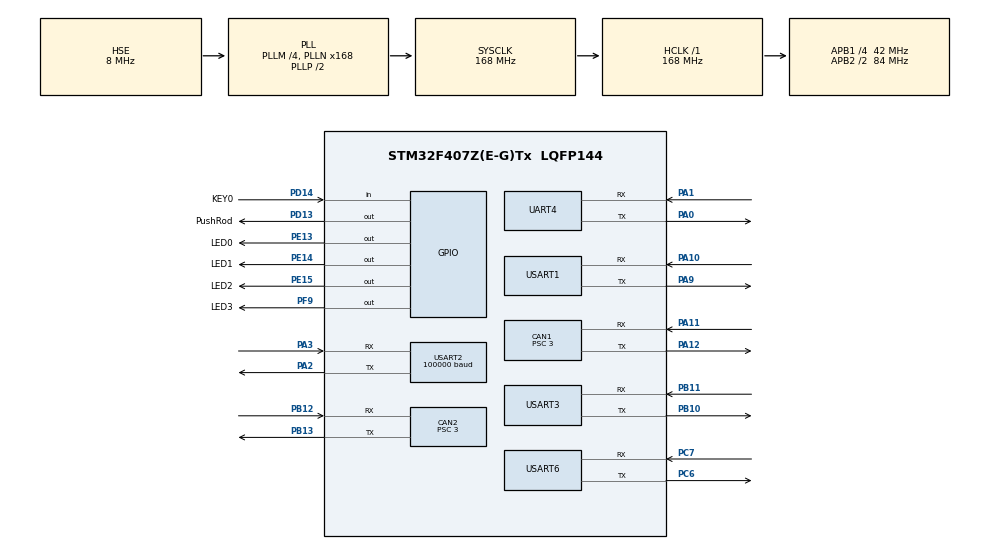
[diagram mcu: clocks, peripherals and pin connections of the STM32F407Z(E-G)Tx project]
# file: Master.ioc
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CAN1.ABOM=ENABLE
CAN1.BS1=CAN_BS1_9TQ
CAN1.BS2=CAN_BS2_4TQ
CAN1.CalculateTimeQuantum=71.42857142857143
CAN1.Prescaler=3
CAN2.ABOM=ENABLE
CAN2.BS1=CAN_BS1_9TQ
CAN2.BS2=CAN_BS2_4TQ
CAN2.CalculateTimeQuantum=71.42857142857143
CAN2.Prescaler=3
Dma.Request0=USART2_RX
Dma.Request1=USART3_RX
Dma.Request2=USART3_TX
Dma.Request3=USART6_RX
Dma.Request4=USART6_TX
Dma.USART2_RX.0.Direction=DMA_PERIPH_TO_MEMORY
Dma.USART2_RX.0.FIFOMode=DMA_FIFOMODE_DISABLE
Dma.USART2_RX.0.Instance=DMA1_Stream5
Dma.USART2_RX.0.MemDataAlignment=DMA_MDATAALIGN_BYTE
Dma.USART2_RX.0.MemInc=DMA_MINC_ENABLE
Dma.USART2_RX.0.Mode=DMA_NORMAL
Dma.USART2_RX.0.PeriphDataAlignment=DMA_PDATAALIGN_BYTE
Dma.USART2_RX.0.PeriphInc=DMA_PINC_DISABLE
Dma.USART2_RX.0.Priority=DMA_PRIORITY_LOW
Dma.USART3_RX.1.Direction=DMA_PERIPH_TO_MEMORY
Dma.USART3_RX.1.FIFOMode=DMA_FIFOMODE_DISABLE
Dma.USART3_RX.1.Instance=DMA1_Stream1
Dma.USART3_RX.1.MemDataAlignment=DMA_MDATAALIGN_BYTE
Dma.USART3_RX.1.MemInc=DMA_MINC_ENABLE
Dma.USART3_RX.1.Mode=DMA_NORMAL
Dma.USART3_RX.1.PeriphDataAlignment=DMA_PDATAALIGN_BYTE
Dma.USART3_RX.1.PeriphInc=DMA_PINC_DISABLE
Dma.USART3_RX.1.Priority=DMA_PRIORITY_LOW
Dma.USART3_TX.2.Direction=DMA_MEMORY_TO_PERIPH
Dma.USART3_TX.2.FIFOMode=DMA_FIFOMODE_DISABLE
Dma.USART3_TX.2.Instance=DMA1_Stream3
Dma.USART3_TX.2.MemDataAlignment=DMA_MDATAALIGN_BYTE
Dma.USART3_TX.2.MemInc=DMA_MINC_DISABLE
Dma.USART3_TX.2.Mode=DMA_NORMAL
Dma.USART3_TX.2.PeriphDataAlignment=DMA_PDATAALIGN_BYTE
Dma.USART3_TX.2.PeriphInc=DMA_PINC_DISABLE
Dma.USART3_TX.2.Priority=DMA_PRIORITY_LOW
Dma.USART6_RX.3.Direction=DMA_PERIPH_TO_MEMORY
Dma.USART6_RX.3.FIFOMode=DMA_FIFOMODE_DISABLE
Dma.USART6_RX.3.Instance=DMA2_Stream1
Dma.USART6_RX.3.MemDataAlignment=DMA_MDATAALIGN_BYTE
Dma.USART6_RX.3.MemInc=DMA_MINC_ENABLE
Dma.USART6_RX.3.Mode=DMA_NORMAL
Dma.USART6_RX.3.PeriphDataAlignment=DMA_PDATAALIGN_BYTE
Dma.USART6_RX.3.PeriphInc=DMA_PINC_DISABLE
Dma.USART6_RX.3.Priority=DMA_PRIORITY_LOW
Dma.USART6_TX.4.Direction=DMA_MEMORY_TO_PERIPH
Dma.USART6_TX.4.FIFOMode=DMA_FIFOMODE_DISABLE
Dma.USART6_TX.4.Instance=DMA2_Stream6
Dma.USART6_TX.4.MemDataAlignment=DMA_MDATAALIGN_BYTE
Dma.USART6_TX.4.MemInc=DMA_MINC_ENABLE
Dma.USART6_TX.4.Mode=DMA_NORMAL
Dma.USART6_TX.4.PeriphDataAlignment=DMA_PDATAALIGN_BYTE
Dma.USART6_TX.4.PeriphInc=DMA_PINC_DISABLE
Dma.USART6_TX.4.Priority=DMA_PRIORITY_LOW
Mcu.Family=STM32F4
Mcu.Name=STM32F407Z(E-G)Tx
Mcu.Package=LQFP144
NVIC.CAN1_RX0_IRQn=true\:0\:0\:false\:false\:true\:true\:true
NVIC.CAN1_TX_IRQn=true\:0\:0\:false\:false\:true\:true\:true
NVIC.CAN2_RX0_IRQn=true\:0\:0\:false\:false\:true\:true\:true
NVIC.CAN2_TX_IRQn=true\:0\:0\:false\:false\:true\:true\:true
NVIC.DMA1_Stream1_IRQn=true\:0\:0\:false\:false\:true\:false\:true
NVIC.DMA1_Stream3_IRQn=true\:0\:0\:false\:false\:true\:false\:true
NVIC.DMA1_Stream5_IRQn=true\:0\:0\:false\:false\:true\:false\:true
NVIC.DMA2_Stream1_IRQn=true\:0\:0\:false\:false\:true\:false\:true
NVIC.DMA2_Stream6_IRQn=true\:0\:0\:false\:false\:true\:false\:true
NVIC.PriorityGroup=NVIC_PRIORITYGROUP_4
NVIC.TIM3_IRQn=true\:1\:0\:true\:false\:true\:true\:true
NVIC.TIM4_IRQn=true\:5\:0\:true\:false\:true\:true\:true
NVIC.TIM7_IRQn=true\:0\:0\:true\:false\:true\:true\:true
NVIC.USART1_IRQn=true\:0\:0\:true\:false\:true\:true\:true
NVIC.USART2_IRQn=true\:0\:0\:false\:false\:true\:true\:true
NVIC.USART3_IRQn=true\:0\:0\:false\:false\:true\:true\:true
NVIC.USART6_IRQn=true\:0\:0\:false\:false\:true\:true\:true
PA0-WKUP.Mode=Asynchronous
PA0-WKUP.Signal=UART4_TX
PA1.Mode=Asynchronous
PA1.Signal=UART4_RX
PA10.Mode=Asynchronous
PA10.Signal=USART1_RX
PA11.Mode=Master
PA11.Signal=CAN1_RX
PA12.Mode=Master
PA12.Signal=CAN1_TX
PA2.Mode=Asynchronous
PA2.Signal=USART2_TX
PA3.Mode=Asynchronous
PA3.Signal=USART2_RX
PA9.Mode=Asynchronous
PA9.Signal=USART1_TX
PB10.Mode=Asynchronous
PB10.Signal=USART3_TX
PB11.Mode=Asynchronous
PB11.Signal=USART3_RX
PB12.Mode=Slave
PB12.Signal=CAN2_RX
PB13.Mode=Slave
PB13.Signal=CAN2_TX
PC6.Mode=Asynchronous
PC6.Signal=USART6_TX
PC7.Mode=Asynchronous
PC7.Signal=USART6_RX
PD13.GPIO_Label=PushRod
PD13.GPIO_PuPd=GPIO_PULLUP
PD13.GPIO_Speed=GPIO_SPEED_FREQ_HIGH
PD13.Signal=GPIO_Output
PD14.GPIO_Label=KEY0
PD14.GPIO_PuPd=GPIO_PULLUP
PD14.Signal=GPIO_Input
PE13.GPIO_Label=LED0
PE13.GPIO_PuPd=GPIO_PULLUP
PE13.GPIO_Speed=GPIO_SPEED_FREQ_HIGH
PE13.PinState=GPIO_PIN_SET
PE13.Signal=GPIO_Output
PE14.GPIO_Label=LED1
PE14.GPIO_ModeDefaultOutputPP=GPIO_MODE_OUTPUT_PP
PE14.GPIO_PuPd=GPIO_PULLUP
PE14.GPIO_Speed=GPIO_SPEED_FREQ_HIGH
PE14.PinState=GPIO_PIN_SET
PE14.Signal=GPIO_Output
PE15.GPIO_Label=LED2
PE15.GPIO_ModeDefaultOutputPP=GPIO_MODE_OUTPUT_PP
PE15.GPIO_PuPd=GPIO_PULLUP
PE15.GPIO_Speed=GPIO_SPEED_FREQ_HIGH
PE15.PinState=GPIO_PIN_SET
PE15.Signal=GPIO_Output
PF9.GPIO_Label=LED3
PF9.GPIO_PuPd=GPIO_PULLUP
PF9.GPIO_Speed=GPIO_SPEED_FREQ_HIGH
PF9.PinState=GPIO_PIN_SET
PF9.Signal=GPIO_Output
PH0-OSC_IN.Mode=HSE-External-Oscillator
PH0-OSC_IN.Signal=RCC_OSC_IN
PH1-OSC_OUT.Mode=HSE-External-Oscillator
PH1-OSC_OUT.Signal=RCC_OSC_OUT
ProjectManager.HeapSize=0x200
ProjectManager.StackSize=0x400
ProjectManager.TargetToolchain=MDK-ARM V5
RCC.48MHZClocksFreq_Value=84000000
RCC.AHBFreq_Value=168000000
RCC.APB1CLKDivider=RCC_HCLK_DIV4
RCC.APB1Freq_Value=42000000
RCC.APB1TimFreq_Value=84000000
RCC.APB2CLKDivider=RCC_HCLK_DIV2
RCC.APB2Freq_Value=84000000
RCC.APB2TimFreq_Value=168000000
RCC.CortexFreq_Value=168000000
RCC.HCLKFreq_Value=168000000
RCC.HSE_VALUE=8000000
RCC.HSI_VALUE=16000000
RCC.LSE_VALUE=32768
RCC.PLLM=4
RCC.PLLN=168
RCC.PLLSourceVirtual=RCC_PLLSOURCE_HSE
RCC.SYSCLKFreq_VALUE=168000000
RCC.SYSCLKSource=RCC_SYSCLKSOURCE_PLLCLK
RCC.VCOOutputFreq_Value=336000000
TIM3.Period=1000-1
TIM3.Prescaler=84-1
TIM4.Period=10000-1
TIM4.Prescaler=8400-1
TIM7.Period=1000-1
TIM7.Prescaler=8400-1
UART4.VirtualMode=Asynchronous
USART1.VirtualMode=VM_ASYNC
USART2.BaudRate=100000
USART2.Parity=PARITY_EVEN
USART2.VirtualMode=VM_ASYNC
USART3.VirtualMode=VM_ASYNC
USART6.VirtualMode=VM_ASYNC
VP_TIM3_VS_ClockSourceINT.Mode=Internal
VP_TIM4_VS_ClockSourceINT.Mode=Internal
VP_TIM7_VS_ClockSourceINT.Mode=Enable_Timer
board=custom

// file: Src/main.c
/* USER CODE BEGIN Header */
/**
  ******************************************************************************
  * @file           : main.c
  * @brief          : Main program body
  ******************************************************************************
  * @attention
  *
  * <h2><center>&copy; Copyright (c) 2019 STMicroelectronics.
  * All rights reserved.</center></h2>
  *
  * This software component is licensed by ST under BSD 3-Clause license,
  * the "License"; You may not use this file except in compliance with the
  * License. You may obtain a copy of the License at:
  *                        opensource.org/licenses/BSD-3-Clause
  *
  ******************************************************************************
  */
/* USER CODE END Header */

#include "main.h"
#include "can.h"
#include "dma.h"
#include "tim.h"
#include "usart.h"
#include "gpio.h"

/* USER CODE BEGIN Includes */

#include "CanBus_Task.h"
#include "RC_Task.h"
#include "ControlTask.h"
#include "Chassis_Task.h"
#include "Gimbal_Task.h"
#include "PrintfInfo.h"
#include "APPInteraction.h"
#include "stdio.h"
#include "Vision_interact.h"
#include "Judge_interact.h"
#include "Ano_Dt.h"

/* USER CODE END Includes */

void SystemClock_Config(void);

int main(void)
{

  /* MCU Configuration--------------------------------------------------------*/

  /* Reset of all peripherals, Initializes the Flash interface and the Systick. */
  HAL_Init();

  /* Configure the system clock */
  SystemClock_Config();

  /* Initialize all configured peripherals */
  MX_GPIO_Init();
  MX_DMA_Init();
  MX_CAN1_Init();
  MX_USART1_UART_Init();
  MX_USART2_UART_Init();
  MX_TIM3_Init();
  MX_TIM7_Init();
  MX_USART3_UART_Init();
  MX_CAN2_Init();
  MX_TIM4_Init();
  MX_USART6_UART_Init();
  MX_UART4_Init();
  /* USER CODE BEGIN 2 */

  HAL_TIM_Base_Start_IT(&htim3); /*使能TIM3中断，溢出时间为1ms*/
	HAL_TIM_Base_Start_IT(&htim4); /*使能TIM4中断，溢出时间为50ms*/

  CANFilterInit();     /*CAN1和CAN2滤波器的配置和开启CAN通信*/
  PID_Init();

  HAL_UART_Receive_IT_IDLE(&huart2,UART_Buffer,100);  /*启动串口接收,用于遥控器的数据接收*/
	HAL_UART3_Receive_IT_IDLE();												//视觉数据串口DMA空闲中断开启
	HAL_UART6_Receive_IT_IDLE();												//裁判系统串口DMA空闲中断开启

  APPInteractionInit();				/*USMART调试组件初始化*/

	PluckData.pluck_flag = 1;				//开启拨弹轮

  /* USER CODE END 2 */

  /* Infinite loop */
  while (1)
  {

    /* USER CODE BEGIN 3 */

		    AllTask();
	}
  /* USER CODE END 3 */
}

void SystemClock_Config(void)
{
  RCC_OscInitTypeDef RCC_OscInitStruct = {0};
  RCC_ClkInitTypeDef RCC_ClkInitStruct = {0};

  /** Configure the main internal regulator output voltage
  */
  __HAL_RCC_PWR_CLK_ENABLE();
  __HAL_PWR_VOLTAGESCALING_CONFIG(PWR_REGULATOR_VOLTAGE_SCALE1);
  /** Initializes the CPU, AHB and APB busses clocks
  */
  RCC_OscInitStruct.OscillatorType = RCC_OSCILLATORTYPE_HSE;
  RCC_OscInitStruct.HSEState = RCC_HSE_ON;
  RCC_OscInitStruct.PLL.PLLState = RCC_PLL_ON;
  RCC_OscInitStruct.PLL.PLLSource = RCC_PLLSOURCE_HSE;
  RCC_OscInitStruct.PLL.PLLM = 4;
  RCC_OscInitStruct.PLL.PLLN = 168;
  RCC_OscInitStruct.PLL.PLLP = RCC_PLLP_DIV2;
  RCC_OscInitStruct.PLL.PLLQ = 4;
  if (HAL_RCC_OscConfig(&RCC_OscInitStruct) != HAL_OK)
  {
    Error_Handler();
  }
  /** Initializes the CPU, AHB and APB busses clocks
  */
  RCC_ClkInitStruct.ClockType = RCC_CLOCKTYPE_HCLK|RCC_CLOCKTYPE_SYSCLK
                              |RCC_CLOCKTYPE_PCLK1|RCC_CLOCKTYPE_PCLK2;
  RCC_ClkInitStruct.SYSCLKSource = RCC_SYSCLKSOURCE_PLLCLK;
  RCC_ClkInitStruct.AHBCLKDivider = RCC_SYSCLK_DIV1;
  RCC_ClkInitStruct.APB1CLKDivider = RCC_HCLK_DIV4;
  RCC_ClkInitStruct.APB2CLKDivider = RCC_HCLK_DIV2;

  if (HAL_RCC_ClockConfig(&RCC_ClkInitStruct, FLASH_LATENCY_5) != HAL_OK)
  {
    Error_Handler();
  }
}

/* USER CODE BEGIN 4 */
void HAL_TIM_PeriodElapsedCallback(TIM_HandleTypeDef *htim)
{
	static uint8_t ms2 = 0;
	if (htim->Instance == TIM3)
	{
		Campaign_Ctrl = 1;
		usmart_count++;								//串口打印定时计数
		ms2++;

		if(ms2 >= 2)
		{
			ms2 = 0;
			Data_Send_ANO_DT = 1;
		}

		//set_moto_current2(&hcan1,0,pid_pitch_S.pos_out,pid_pluck_S.pos_out,pid_yaw_S.pos_out);
		//PrintfInfo(); /*打印信息*/
	}

	if (htim->Instance == TIM4)
	{
		PluckData.pluck_time_count ++;

		if(PluckData.lock_flag == 1){
				PluckData.lock_time_count++;					//卡弹计数
				lock_bullet_detection();							//卡弹检测
			}

	}
}
/* USER CODE END 4 */

void Error_Handler(void)
{
}

/************************ (C) COPYRIGHT STMicroelectronics *****END OF FILE****/
